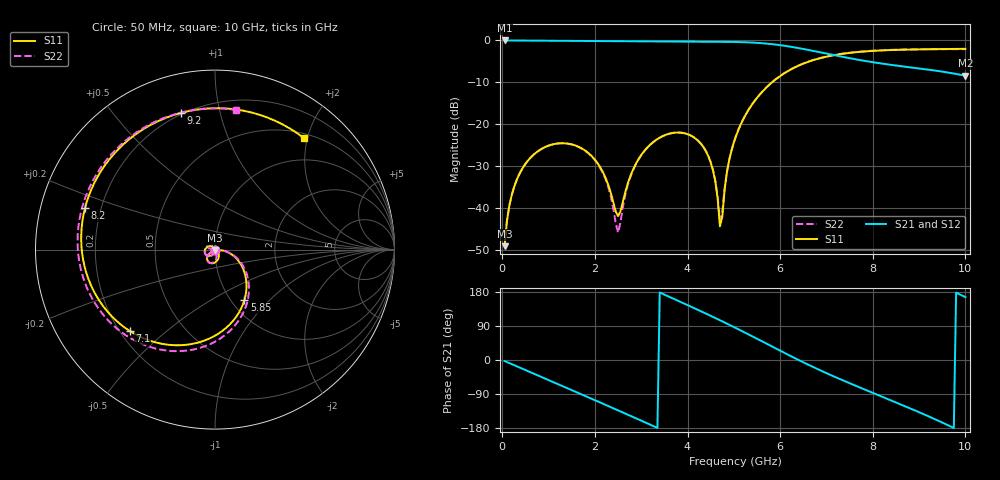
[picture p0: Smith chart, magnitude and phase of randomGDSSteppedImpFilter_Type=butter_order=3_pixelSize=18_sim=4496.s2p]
! freq	dB(S11)	phase(S11)	dB(S12)	phase(S12)
!  dB(S21)	phase(S21)	dB(S22)	phase(S22)
!S-par simulation data
#  GHz  S  DB  R 50
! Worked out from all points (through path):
!   200 points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, 50 MHz to 10 GHz, reference 50 ohm
!   highest |S21| = 0.00 dB at 50 MHz (marker M1); lowest = -8.4 dB at 10 GHz (marker M2)
!   group delay of S21, straight-line fit = 156 ps
!   lowest |S11| = -49.1 dB at 50 MHz (marker M3), VSWR 1.01, Z = 50 - j0.349 ohm
!   |S11| at or under -10 dB: start of sweep to 5.826 GHz
!   |S22| runs from -49.1 to -2.1 dB; largest |S21 - S12| = 0
!   S11 on the Smith chart (normalised r, x): 50 MHz: 1.00, -0.01; 5.85 GHz: 1.15, -0.72; 7.1 GHz: 0.24, -0.38; 8.2 GHz: 0.14, +0.15; 9.2 GHz: 0.19, +0.76; 10 GHz: 0.58, +1.94
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0.05  -49.13 -91.2  -0.00 -2.7  -0.00 -2.7  -49.13 -91.0
0.2  -37.08 -100.1  -0.02 -10.7  -0.02 -10.7  -37.08 -99.4
0.55  -28.75 -120.2  -0.04 -29.2  -0.04 -29.2  -28.75 -118.1
1.1  -24.79 -151.6  -0.08 -58.3  -0.08 -58.3  -24.80 -146.8
1.75  -26.02 169.8  -0.12 -92.7  -0.12 -92.7  -26.06 -178.9
2.2  -32.07 135.2  -0.14 -116.7  -0.14 -116.7  -32.35 164.3
2.5  -41.94 47.2  -0.15 -132.9  -0.15 -132.9  -45.90 -132.5
2.85  -30.22 -47.3  -0.19 -151.9  -0.19 -151.9  -30.35 -71.2
3.4  -23.22 -86.5  -0.25 178.1  -0.25 178.1  -23.22 -94.2
3.95  -22.22 -118.6  -0.29 147.7  -0.29 147.7  -22.20 -121.4
4.35  -25.59 -139.9  -0.31 125.2  -0.31 125.2  -25.55 -140.1
4.6  -33.68 -146.1  -0.32 110.8  -0.32 110.8  -33.51 -142.9
4.7  -44.39 -109.5  -0.32 104.9  -0.32 104.9  -42.80 -103.4
4.85  -31.53 -6.1  -0.33 96.1  -0.33 96.1  -31.40 -8.5
5.05  -22.72 -11.4  -0.37 84.0  -0.37 84.0  -22.69 -11.2
5.85  -9.77 -59.6  -0.92 34.0  -0.92 34.0  -9.74 -55.4
6.7  -4.75 -112.9  -2.47 -17.8  -2.47 -17.8  -4.71 -104.9
7.1  -3.65 -136.4  -3.37 -40.2  -3.37 -40.2  -3.60 -126.3
8.2  -2.38 162.4  -5.53 -96.6  -5.53 -96.6  -2.33 179.6
8.35  -2.31 154.0  -5.77 -104.1  -5.77 -104.1  -2.27 172.4
9.2  -2.10 103.9  -6.98 -148.4  -6.98 -148.4  -2.10 129.2
10  -2.00 51.4  -8.44 166.0  -8.44 166.0  -2.08 81.3
